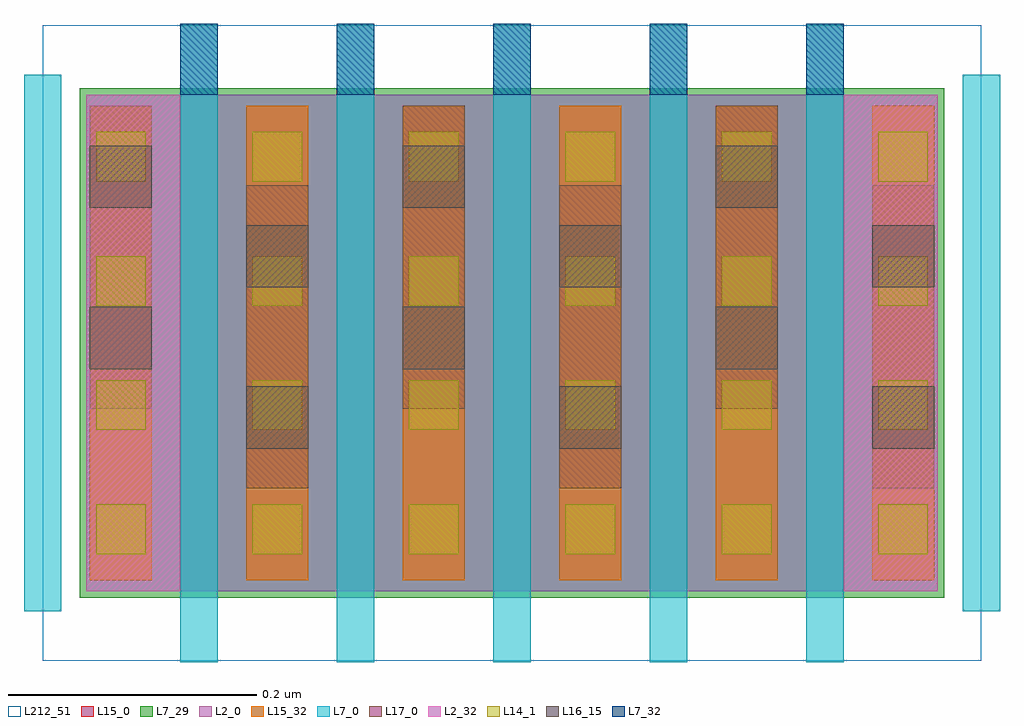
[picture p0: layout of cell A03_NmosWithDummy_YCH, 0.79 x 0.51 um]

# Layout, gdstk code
import gdstk
lib = gdstk.Library(unit=1e-6, precision=1e-09)
def R(c, l, rs):  # rectangles x0, y0, x1, y1
    for r in rs: c.add(gdstk.rectangle(r[:2], r[2:], *l))
def A(c, l, x, y, w, h, nx, ny, dx, dy):  # array of equal rectangles
    R(c, l, [(x+i*dx, y+j*dy, x+i*dx+w, y+j*dy+h) for i in range(nx) for j in range(ny)])
L2_0 = (2, 0)
L2_32 = (2, 32)
L7_0 = (7, 0)
L7_29 = (7, 29)
L7_32 = (7, 32)
L14_1 = (14, 1)
L15_0 = (15, 0)
L15_32 = (15, 32)
L16_15 = (16, 15)
L17_0 = (17, 0)
L212_51 = (212, 51)

a03_nmoswithdummy_ych_sr = lib.new_cell('A03_NmosWithDummy_YCH:SRF_Source_ViaM1M2:SRF_ViaM1M2')
R(a03_nmoswithdummy_ych_sr, L15_0, [(0,-0.162,0.05,0.082)])
R(a03_nmoswithdummy_ych_sr, L16_15, [(0,-0.13,0.05,-0.08), (0,0,0.05,0.05)])
R(a03_nmoswithdummy_ych_sr, L17_0, [(0,-0.162,0.05,0.082)])

c_a03_nmoswithdummy_ych_sr = lib.new_cell('A03_NmosWithDummy_YCH:SRF_Source_ViaM1M2')
c_a03_nmoswithdummy_ych_sr.add(gdstk.Reference(a03_nmoswithdummy_ych_sr, (-0.025,0.04)))

c_a03_nmoswithdummy_ych_sr_ = lib.new_cell('A03_NmosWithDummy_YCH:SRF_Drain_ViaM1M2:SRF_ViaM1M2')
R(c_a03_nmoswithdummy_ych_sr_, L15_0, [(0,-0.162,0.05,0.082)])
R(c_a03_nmoswithdummy_ych_sr_, L16_15, [(0,-0.13,0.05,-0.08), (0,0,0.05,0.05)])
R(c_a03_nmoswithdummy_ych_sr_, L17_0, [(0,-0.162,0.05,0.082)])

c_a03_nmoswithdummy_ych_sr__ = lib.new_cell('A03_NmosWithDummy_YCH:SRF_Drain_ViaM1M2')
c_a03_nmoswithdummy_ych_sr__.add(gdstk.Reference(c_a03_nmoswithdummy_ych_sr_, (-0.025,0.04)))

a03_nmoswithdummy_ych = lib.new_cell('A03_NmosWithDummy_YCH')
R(a03_nmoswithdummy_ych, L2_0, [(-0.076,0.057,0.61,0.457)])
R(a03_nmoswithdummy_ych, L2_32, [(-0.076,0.057,0,0.457), (0.534,0.057,0.61,0.457)])
A(a03_nmoswithdummy_ych, L7_0, 0, 0, 0.03, 0.514, 5, 1, 0.126, 0)
R(a03_nmoswithdummy_ych, L7_0, [(-0.126,0.041,-0.096,0.473), (0.63,0.041,0.66,0.473)])
R(a03_nmoswithdummy_ych, L7_29, [(-0.081,0.052,0.615,0.462)])
A(a03_nmoswithdummy_ych, L7_32, 0, 0.457, 0.03, 0.057, 5, 1, 0.126, 0)
A(a03_nmoswithdummy_ych, L14_1, -0.068, 0.087, 0.04, 0.04, 6, 4, 0.126, 0.1)
R(a03_nmoswithdummy_ych, L15_0, [(-0.073,0.066,-0.023,0.448), (-0.073,0.066,-0.023,0.448), (0.053,0.066,0.103,0.448), (0.053,0.066,0.103,0.448), (0.179,0.066,0.229,0.448), (0.179,0.066,0.229,0.448), (0.305,0.066,0.355,0.448), (0.305,0.066,0.355,0.448), (0.431,0.066,0.481,0.448), (0.431,0.066,0.481,0.448), (0.557,0.066,0.607,0.448), (0.557,0.066,0.607,0.448)])
A(a03_nmoswithdummy_ych, L15_32, -0.073, 0.066, 0.05, 0.382, 6, 1, 0.126, 0)
R(a03_nmoswithdummy_ych, L212_51, [(-0.111,0.001,0.645,0.513)])
a03_nmoswithdummy_ych.add(gdstk.Reference(c_a03_nmoswithdummy_ych_sr, (-0.048,0.326)))
a03_nmoswithdummy_ych.add(gdstk.Reference(c_a03_nmoswithdummy_ych_sr, (0.204,0.326)))
a03_nmoswithdummy_ych.add(gdstk.Reference(c_a03_nmoswithdummy_ych_sr, (0.456,0.326)))
a03_nmoswithdummy_ych.add(gdstk.Reference(c_a03_nmoswithdummy_ych_sr__, (0.078,0.262)))
a03_nmoswithdummy_ych.add(gdstk.Reference(c_a03_nmoswithdummy_ych_sr__, (0.33,0.262)))
a03_nmoswithdummy_ych.add(gdstk.Reference(c_a03_nmoswithdummy_ych_sr__, (0.582,0.262)))

lib.write_gds('A03_NmosWithDummy_YCH.gds')
